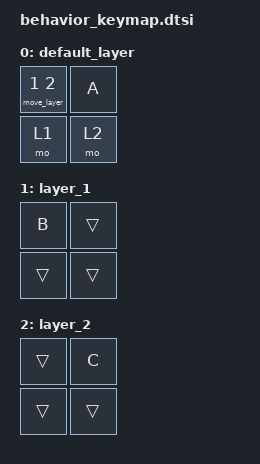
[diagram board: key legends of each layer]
#include <dt-bindings/zmk/keys.h>
#include <behaviors.dtsi>
#include <dt-bindings/zmk/kscan_mock.h>

/ {
    behaviors {
        move_layer: move_layer {
            compatible = "zmk,behavior-move-layer";
            #binding-cells = <2>;
        };
    };

    keymap {
        compatible = "zmk,keymap";

        default_layer {
            bindings = <
                &move_layer 1 2 &kp A
                &mo 1 &mo 2>;
        };

        layer_1 {
            bindings = <
                &kp B &trans
                &trans &trans>;
        };

        layer_2 {
            bindings = <
                &trans &kp C
                &trans &trans>;
        };
    };
};
